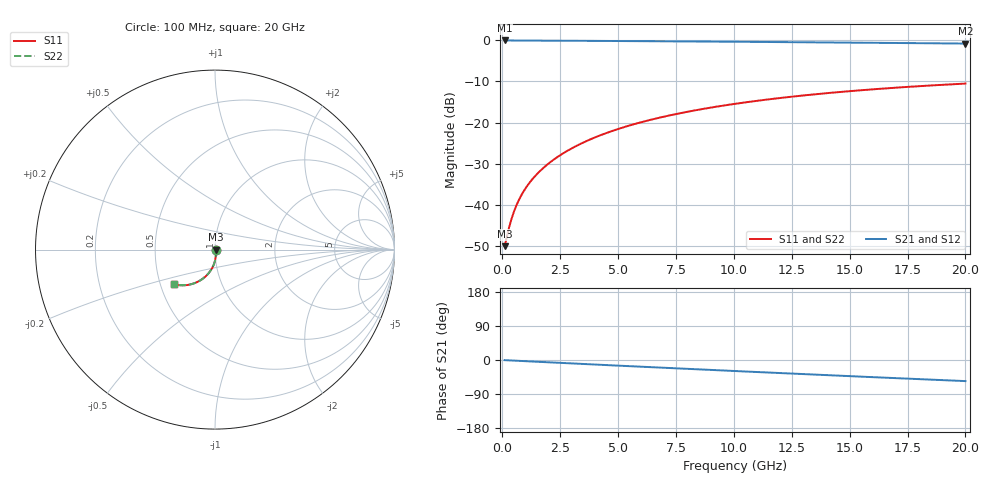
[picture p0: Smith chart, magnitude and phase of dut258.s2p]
! Touchstone file exported from HFSS 2026.1.0
!  File:  C:/ffzhzh/LocalFiles/Ansys_Project_Files/temp_train_TMRDL_258_1782984957_41620.aedt
!  Generated:  05:37:30 PM Jul  2, 2026
!  Design:  TMRDL
!  Project:  temp_train_TMRDL_258_1782984957_41620
! Variables:
!  h_bsmrdl = 2um
!  h_ox = 20um
!  h_rdl = 5um
!  h_sub = 80um
!  h_tmrdl = 5.7um
!  h_tsv = 80um
!  h_via = 3um
!  l_bsmrdl = 300um
!  l_sub = 1361.26um
!  l_tmrdl = 961.26um
!  m_sub = 200um
!  pitch = 24.99um
!  r_tsv = 6um
!  s_tmrdl = 10um
!  w_bsmrdl = 18um
!  w_sub = 500um
!  w_tmrdl = 22.7um
!  x_tsv_center1 = 972.61um
!  x_tsv_center2 = 1290.61um
!  x_tsv_center3 = 2274.57um
!  x_tsv_center4 = 2592.57um
!  x_tsv_center5 = 3576.53um
!  x_tsv_center6 = 3894.53um
# GHz S MA R 50.000000
! Terminal data exported
! Port[1] = TM_RDL1_1_T1
! Port[2] = TM_RDL1_1_T2
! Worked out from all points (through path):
!   200 points, 100 MHz to 20 GHz, reference 50 ohm
!   highest |S21| = -0.03 dB at 100 MHz (marker M1); lowest = -0.8 dB at 20 GHz (marker M2)
!   group delay of S21, straight-line fit = 7.71 ps
!   lowest |S11| = -50.1 dB at 100 MHz (marker M3), VSWR 1.01, Z = 50.3 - j0.0558 ohm
!   |S11| at or under -10 dB: start of sweep to end of sweep
!   |S22| runs from -50.1 to -10.5 dB; largest |S21 - S12| = 2.6e-14
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0.1  0.003139 -10.2  0.9969 -0.4  0.9969 -0.4  0.003139 -10.2
! Gamma 0 0 0 0
! Port Impedance 50 0 50 0
0.3  0.005385 -35.2  0.9956 -1.0  0.9956 -1.0  0.005385 -35.2
0.4  0.006764 -44.6  0.9951 -1.3  0.9951 -1.3  0.006764 -44.6
0.5  0.008207 -51.7  0.9948 -1.6  0.9948 -1.6  0.008207 -51.7
0.6  0.009686 -57.2  0.9945 -1.9  0.9945 -1.9  0.009686 -57.2
0.7  0.01119 -61.4  0.9943 -2.2  0.9943 -2.2  0.01119 -61.4
0.9  0.01425 -67.5  0.9939 -2.8  0.9939 -2.8  0.01425 -67.5
1.2  0.01892 -73.3  0.9933 -3.7  0.9933 -3.7  0.01892 -73.3
1.4  0.02209 -75.9  0.9929 -4.3  0.9929 -4.3  0.02208 -75.9
1.7  0.0269 -78.9  0.9922 -5.2  0.9922 -5.2  0.0269 -78.9
2.2  0.03509 -82.5  0.9908 -6.7  0.9908 -6.7  0.03509 -82.5
2.8  0.04518 -85.7  0.989 -8.5  0.989 -8.5  0.04517 -85.7
3.5  0.05721 -88.8  0.9867 -10.5  0.9867 -10.5  0.05721 -88.8
4.2  0.06943 -91.6  0.9843 -12.6  0.9843 -12.6  0.06942 -91.6
5  0.08349 -94.6  0.9815 -14.9  0.9815 -14.9  0.08348 -94.7
5.9  0.09929 -97.9  0.9782 -17.5  0.9782 -17.5  0.09927 -97.9
6.8  0.1149 -101.0  0.9748 -20.0  0.9748 -20.0  0.1149 -101.0
8.3  0.1404 -105.9  0.9689 -24.2  0.9689 -24.2  0.1404 -106.0
10.1  0.1698 -111.6  0.9614 -29.3  0.9614 -29.3  0.1698 -111.6
13.4  0.2193 -121.4  0.9462 -38.3  0.9462 -38.3  0.2193 -121.5
16.7  0.2622 -130.6  0.9301 -47.1  0.9301 -47.1  0.2622 -130.7
20  0.2978 -139.4  0.9141 -55.7  0.9141 -55.7  0.2978 -139.5
